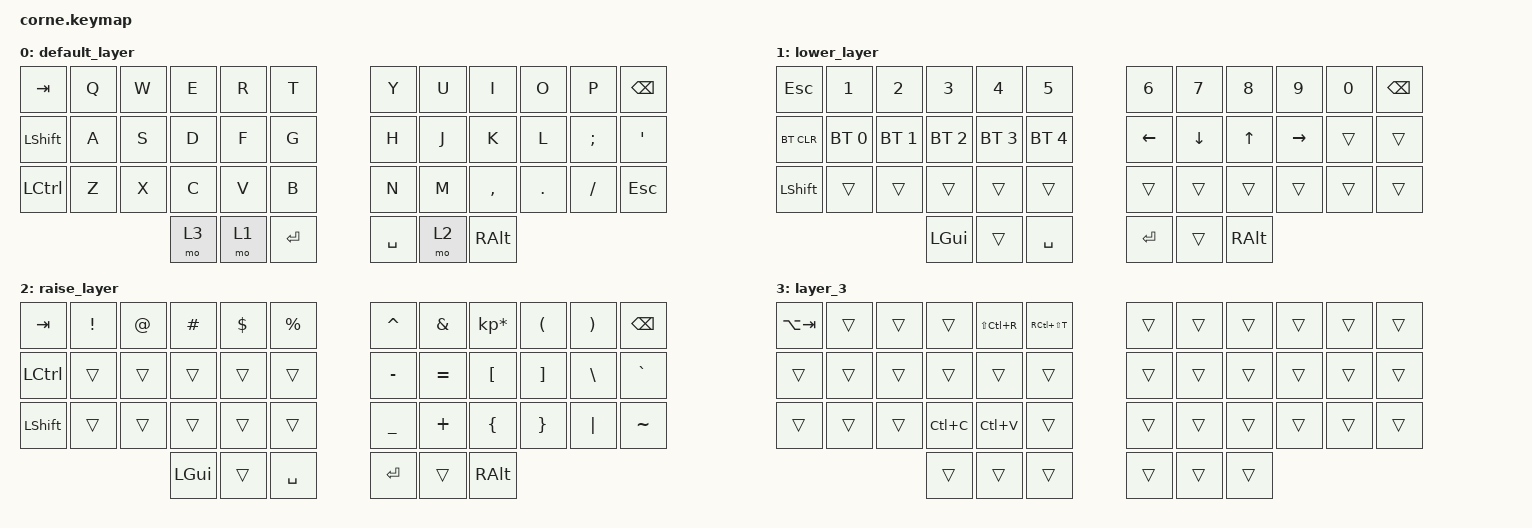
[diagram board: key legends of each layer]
/*
 * Copyright (c) 2020 The ZMK Contributors
 *
 * SPDX-License-Identifier: MIT
 */

#include <behaviors.dtsi>
#include <dt-bindings/zmk/bt.h>
#include <dt-bindings/zmk/keys.h>

/ {
    combos {
        compatible = "zmk,combos";

        Borrar {
            bindings = <&kp BACKSPACE>;
            key-positions = <19 20>;
        };
    };

    keymap {
        compatible = "zmk,keymap";

        default_layer {
            // -----------------------------------------------------------------------------------------
            // |  TAB |  Q  |  W  |  E  |  R  |  T  |   |  Y  |  U   |  I  |  O  |  P  | BKSP |
            // | CTRL |  A  |  S  |  D  |  F  |  G  |   |  H  |  J   |  K  |  L  |  ;  |  '   |
            // | SHFT |  Z  |  X  |  C  |  V  |  B  |   |  N  |  M   |  ,  |  .  |  /  | ESC  |
            //                    | GUI | LWR | SPC |   | ENT | RSE  | ALT |

            bindings = <
&kp TAB           &kp Q  &kp W  &kp E  &kp R  &kp T         &kp Y      &kp U  &kp I      &kp O    &kp P     &kp BSPC
&kp LEFT_SHIFT    &kp A  &kp S  &kp D  &kp F  &kp G         &kp H      &kp J  &kp K      &kp L    &kp SEMI  &kp SQT
&kp LEFT_CONTROL  &kp Z  &kp X  &kp C  &kp V  &kp B         &kp N      &kp M  &kp COMMA  &kp DOT  &kp FSLH  &kp ESC
                                &mo 3  &mo 1  &kp RETURN    &kp SPACE  &mo 2  &kp RALT
            >;
        };

        lower_layer {
            // -----------------------------------------------------------------------------------------
            // |  TAB |  1  |  2  |  3  |  4  |  5  |   |  6  |  7  |  8  |  9  |  0  | BKSP |
            // | BTCLR| BT1 | BT2 | BT3 | BT4 | BT5 |   | LFT | DWN |  UP | RGT |     |      |
            // | SHFT |     |     |     |     |     |   |     |     |     |     |     |      |
            //                    | GUI |     | SPC |   | ENT |     | ALT |

            bindings = <
&kp ESCAPE  &kp N1        &kp N2        &kp N3        &kp N4        &kp N5          &kp N6    &kp N7    &kp N8    &kp N9     &kp N0  &kp BSPC
&bt BT_CLR  &bt BT_SEL 0  &bt BT_SEL 1  &bt BT_SEL 2  &bt BT_SEL 3  &bt BT_SEL 4    &kp LEFT  &kp DOWN  &kp UP    &kp RIGHT  &trans  &trans
&kp LSHFT   &trans        &trans        &trans        &trans        &trans          &trans    &trans    &trans    &trans     &trans  &trans
                                        &kp LGUI      &trans        &kp SPACE       &kp RET   &trans    &kp RALT
            >;
        };

        raise_layer {
            // -----------------------------------------------------------------------------------------
            // |  TAB |  !  |  @  |  #  |  $  |  %  |   |  ^  |  &  |  *  |  (  |  )  | BKSP |
            // | CTRL |     |     |     |     |     |   |  -  |  =  |  [  |  ]  |  \  |  `   |
            // | SHFT |     |     |     |     |     |   |  _  |  +  |  {  |  }  | "|" |  ~   |
            //                    | GUI |     | SPC |   | ENT |     | ALT |

            bindings = <
&kp TAB    &kp EXCL  &kp AT  &kp HASH  &kp DLLR  &kp PRCNT    &kp CARET  &kp AMPS   &kp KP_MULTIPLY  &kp LPAR  &kp RPAR  &kp BSPC
&kp LCTRL  &trans    &trans  &trans    &trans    &trans       &kp MINUS  &kp EQUAL  &kp LBKT         &kp RBKT  &kp BSLH  &kp GRAVE
&kp LSHFT  &trans    &trans  &trans    &trans    &trans       &kp UNDER  &kp PLUS   &kp LBRC         &kp RBRC  &kp PIPE  &kp TILDE
                             &kp LGUI  &trans    &kp SPACE    &kp RET    &trans     &kp RALT
            >;
        };

        layer_3 {
            bindings = <
&kp LA(TAB)  &trans  &trans  &trans     &kp LS(LC(R))  &kp RC(LS(T))    &trans  &trans  &trans  &trans  &trans  &trans
&trans       &trans  &trans  &trans     &trans         &trans           &trans  &trans  &trans  &trans  &trans  &trans
&trans       &trans  &trans  &kp LC(C)  &kp LC(V)      &trans           &trans  &trans  &trans  &trans  &trans  &trans
                             &trans     &trans         &trans           &trans  &trans  &trans
            >;
        };
    };
};
